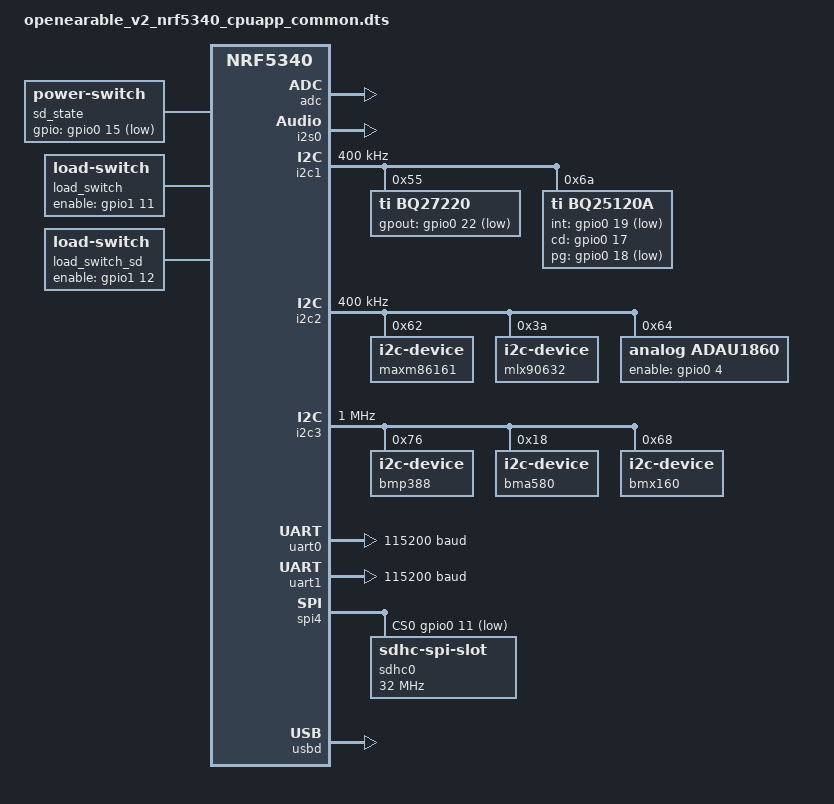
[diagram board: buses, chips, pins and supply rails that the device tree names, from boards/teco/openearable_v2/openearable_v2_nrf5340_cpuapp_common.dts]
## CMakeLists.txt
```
# Haven nRF5340 firmware — nRF Connect SDK (Zephyr) application
cmake_minimum_required(VERSION 3.20.0)

find_package(Zephyr REQUIRED HINTS $ENV{ZEPHYR_BASE})
project(haven_zephyr_app)

target_sources(app PRIVATE
  src/main.c
  src/ble_transport.c
  src/protocol.c
  src/adau1860_control.c
  src/lark_fdsp_program.c
  src/lark_eq_program.c
  src/tone_gen.c
  src/gatt_audio_service.c
  src/mock_audio_pipeline.c
  src/settings_store.c
  src/tone_safety.c
  src/ack.c
  src/wake_button.c
)
```

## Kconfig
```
mainmenu "Haven nRF5340 firmware"

menu "Haven"

config HAVEN_FDSP_RATE_HZ
	int "FastDSP frame rate the biquad coefficients are designed for (Hz)"
	default 192000
	help
	  Must equal the ADAU1860 FastDSP frame-rate source selected by
	  FDSP_CTRL4 (upstream OpenEarable: DMIC01 at 192 kHz). If a notch
	  commanded at f0 lands at f0/4 on hardware, this is what's wrong.
	  Q5.27 precision at 192 kHz is adequate for every band the protocol
	  allows (worst pure notch still >= 48.9 dB deep, centre error
	  <= 0.2 cents, all designs stable) -- see
	  tools/dsp/results/notch_quantisation.md. docs/fastdsp-program.md
	  has the evidence for the 192 kHz figure itself.

config HAVEN_FDSP_BANK
	int "FastDSP parameter bank to run (0 normal / 1 transparency / 2 ANC)"
	range 0 2
	default 1
	help
	  Upstream's three banks double as audio modes. Bank 0 zeroes the five
	  biquads (mic path silent); bank 1 is the hear-through path Haven's
	  bands are safeloaded into.

choice HAVEN_DAC_SOURCE
	prompt "What feeds the ADAU1860 DAC"
	default HAVEN_DAC_SOURCE_FDSP

config HAVEN_DAC_SOURCE_FDSP
	bool "FastDSP channel 0 (mic -> 5 biquads -> limiter): normal operation"

config HAVEN_DAC_SOURCE_DMIC_DIRECT
	bool "DMIC0 straight to the DAC: first-power-on smoke test, no DSP"
	help
	  Routes the raw PDM microphone to the DAC (DAC_ROUTE0 = 71, per ADI's
	  Lark SDK route enum). Use once on a fresh board: if you hear the room
	  the mic, clocks, DAC and receiver all work and any later silence is a
	  FastDSP program/routing question, not hardware. No filters and no
	  limiter are in this path -- never wear the device in this mode.

config HAVEN_DAC_SOURCE_EQ
	bool "Hardware EQ engine fed from DMIC0 (Route B): hear-through without a FastDSP program"
	help
	  Routes the PDM mic into the codec's dedicated EQ engine (EQ_ROUTE = 71)
	  and the EQ output to the DAC (DAC_ROUTE0 = 75). Haven's five bands are
	  written into the EQ's parameter banks (six biquad stages, 28-bit 4.24
	  words, [-a1,-a2,b0,b1,b2] -- see tools/dsp/eq_bank_decode.py) with
	  bank-flip updates. Independent of the FastDSP program's internal
	  routing, so it is the fallback if FastDSP hear-through is silent. The
	  FastDSP's expander/limiter are NOT in this path; the DAC output
	  ceiling (HAVEN_OUTPUT_CEILING_DB) still is. UNVERIFIED on hardware.
endchoice

config HAVEN_TONE_FULL_SCALE_DB
	int "LDL tone: commanded level_db that maps to 0 dBFS on the I2S link"
	range 0 120
	default 85
	help
	  Tone amplitude = 10^((level_db - this)/20) of full scale, so the
	  default puts the protocol's 85 dB ceiling at exactly 0 dBFS -- the
	  loudest the link can carry. This is a NOMINAL placeholder: the real
	  relationship between level_db and dB SPL at the eardrum has to be
	  measured on hardware (haven-app docs/calibration.md), after which
	  this constant -- or a per-frequency table replacing it -- gets the
	  measured value. Do not treat any dB number as physical until then.

choice HAVEN_TONE_ROUTE
	prompt "LDL tone: codec routing while a tone plays"
	default HAVEN_TONE_ROUTE_DAC_DIRECT
	help
	  See docs/tone-path.md.

config HAVEN_TONE_ROUTE_DAC_DIRECT
	bool "DAC fed from the I2S input; hear-through paused for the tone"
	help
	  Upstream OpenEarable's non-DSP playback route (DAC_ROUTE0 = I2S with
	  serial port 0 -> input ASRC 0). Known to make sound; guarantees the
	  tone is not shaped by the user's own notch filters, which an LDL test
	  requires. Costs hear-through for the duration of the tone.

config HAVEN_TONE_ROUTE_FDSP_MIX
	bool "DAC stays on the FastDSP; rely on the program's mixer slot (unverified)"
	help
	  Leaves DAC_ROUTE0 on FastDSP channel 0 and assumes upstream's
	  program mixes the I2S/ASRC path in at slot 8 after the biquads. Not
	  established -- for hardware experiments only.

endchoice

endmenu

source "Kconfig.zephyr"
```

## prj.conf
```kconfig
# ── Bluetooth LE peripheral ──────────────────────────────────────────────────
# On nRF5340 the Host runs here on the app core; the Controller runs on the
# network core via the hci_rpmsg image — see sysbuild.conf.
CONFIG_BT=y
CONFIG_BT_PERIPHERAL=y
CONFIG_BT_DEVICE_NAME="Haven"
CONFIG_BT_DEVICE_APPEARANCE=962
CONFIG_BT_MAX_CONN=1

# Nordic UART Service (NUS) from nRF Connect SDK
CONFIG_BT_NUS=y

# The app negotiates MTU 247 so a 5-band MULTI_FILTER JSON fits in one write.
CONFIG_BT_L2CAP_TX_MTU=247
CONFIG_BT_BUF_ACL_RX_SIZE=251
CONFIG_BT_BUF_ACL_TX_SIZE=251
CONFIG_BT_CTLR_DATA_LENGTH_MAX=251

# ── Buses to the ADAU1860 ───────────────────────────────────────────────────
# I2C (bus per board file) is the control port: registers, FastDSP program
# and parameter safeloads. I2S0 (nRF master, 48 kHz, 16-bit stereo) carries
# only the LDL calibration tone from tone_gen.c into the codec's serial port
# 0; hear-through audio never leaves the codec.
CONFIG_I2C=y
CONFIG_I2S=y
# tone_gen.c keeps two blocks ahead of the DMA; the driver's TX queue depth
# (default 4) is fine -- listed here so the relationship is visible.
CONFIG_I2S_NRFX_TX_BLOCK_COUNT=4

# ── Settings persistence (NVS) for Volume/FreqRange ─────────────────────────
# `storage_partition` already exists in the nRF5340 DK's default flash
# partition table (nrf5340_cpuapp_partition.dtsi) -- no overlay needed.
# CONFIG_SETTINGS=y + CONFIG_NVS=y is enough for the backend choice to
# default to SETTINGS_NVS.
CONFIG_FLASH=y
CONFIG_FLASH_MAP=y
CONFIG_NVS=y
CONFIG_SETTINGS=y

# ── Runtime ─────────────────────────────────────────────────────────────────
CONFIG_MAIN_STACK_SIZE=2048
CONFIG_SYSTEM_WORKQUEUE_STACK_SIZE=2048
CONFIG_HEAP_MEM_POOL_SIZE=4096

# ── Power management ─────────────────────────────────────────────────────────
# Baseline CPU idle power savings (WFE/WFI between work) -- this app has no
# device driver PM state machines to opt into yet (I2C/I2S/GPIO aren't runtime
# suspended), so CONFIG_PM_DEVICE is deliberately not enabled here. See
# ble_transport.c for the advertising-side power saving (fast->slow interval)
# and wake_button.c for the button0 wake trigger.
CONFIG_PM=y
CONFIG_GPIO=y

# strtof/printf of floats for JSON band parsing and logging
CONFIG_PICOLIBC=y
CONFIG_PICOLIBC_IO_FLOAT=y
CONFIG_CBPRINTF_FP_SUPPORT=y

# ── Logging ─────────────────────────────────────────────────────────────────
CONFIG_LOG=y
CONFIG_LOG_DEFAULT_LEVEL=3
CONFIG_USE_SEGGER_RTT=y

# Default 1024B up-buffer fills before boot even finishes (BT HCI core
# alone logs ~700B) and CONFIG_SEGGER_RTT_MODE_NO_BLOCK_SKIP means anything
# past a full buffer is silently dropped rather than blocking or
# overwriting — a snapshot dump taken any time after boot without a
# continuously-draining RTT client attached from t=0 will look like the
# firmware hung right after the last line that fit. Confirmed via
# arch_cpu_idle at the PC, not a crash. Bumped so a whole boot burst fits.
CONFIG_SEGGER_RTT_BUFFER_SIZE_UP=16384
```

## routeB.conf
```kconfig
# Build-time selection of Route B (hardware EQ engine hear-through) for CI.
# west build ... -- -DEXTRA_CONF_FILE=routeB.conf
CONFIG_HAVEN_DAC_SOURCE_EQ=y
```

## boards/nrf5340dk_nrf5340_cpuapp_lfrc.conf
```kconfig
# LFRC fallback -- application core.
#
# Run the nRF5340's 32.768 kHz low-frequency clock from the internal RC
# oscillator (calibrated against the HFXO) instead of the external X1
# crystal. Use this ONLY if BLE never comes up on a board whose 32 kHz
# crystal may not be oscillating -- the 5x bench board's X1 sat 30 mm from
# the module before haven-dev-board-kicad PR #5 (issue #4). Symptoms: no
# advertising seen by the phone, or bt_enable() never returning / timing
# out waiting for the LF clock.
#
# Cost: RC accuracy is 250 ppm class (CLOCK_CONTROL_NRF_K32SRC_250PPM is the
# default the clock driver picks for RC on nRF53), which is within BLE's
# 500 ppm sleep-clock budget but worsens power (more frequent calibration,
# wider receive windows). Not for the product; for getting a bench alive.
#
# The network core (ipc_radio, the BLE controller) MUST get the same choice
# -- see sysbuild/ipc_radio_lfrc.conf; both are applied together by
# `-DFILE_SUFFIX=lfrc` (README "LFRC fallback").
#
# Symbol names verified against sdk-zephyr ncs-v3.4-branch
# drivers/clock_control/Kconfig.nrf (choice CLOCK_CONTROL_NRF_SOURCE;
# CLOCK_CONTROL_NRF_K32SRC_RC_CALIBRATION depends on the hfxo node, present
# on cpuapp).
CONFIG_CLOCK_CONTROL_NRF_K32SRC_RC=y
CONFIG_CLOCK_CONTROL_NRF_K32SRC_RC_CALIBRATION=y
```

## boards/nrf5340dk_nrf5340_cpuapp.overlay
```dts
/*
 * nRF5340 DK bench wiring for an ADAU1860 (e.g. EVAL-ADAU1860EBZ) —
 * application core.
 *
 * Control port : I2C1 (Arduino-header SDA/SCL on the DK; ADAU1860 at 0x64)
 * Enable pin   : Arduino D2 = P1.04 → the codec's PD/enable (net DAC_ENABLE
 *                on the real board). Must be driven before any I2C traffic;
 *                adau1860_control.c does that.
 * Audio data   : I2S0, nRF5340 as MASTER — carries only the LDL calibration
 *                tone (tone_gen.c, 48 kHz 16-bit stereo). The hear-through
 *                path is mic → FastDSP → DAC entirely inside the codec.
 *
 * This DK is only a bench for the codec's control plane. The real target is
 * boards/teco/openearable_v2 (the OpenEarable 2.0 / Haven board), where the
 * codec sits on the P1.00/P1.15 bus and is enabled by P0.04.
 *
 * NOTE: confirm i2c1 is the Arduino-header bus and P1.04 is D2 for your
 * exact NCS version / DK revision before wiring — Nordic DK pin maps have
 * shifted between releases (see the DK's own arduino_header node).
 *
 * NOTE (history): an earlier revision of this overlay put the nRF5340 as
 * I2S *slave*, inferring that from the codec's own 24.576 MHz crystal. The
 * upstream OpenEarable firmware that runs on this codec has the nRF as I2S
 * MASTER (I2S_SCK_M / I2S_LRCK_M, hfclkaudio 12.288 MHz); the ADAU1860
 * bridges the two clock domains with its ASRCs, which is what they are for.
 * The upstream pinout also settles signal direction: nRF SDOUT → codec
 * SDATAI_0 (board net "DIN"), codec SDATAO_0 → nRF SDIN (net "DOUT").
 */

&i2c1 {
	status = "okay";
	clock-frequency = <I2C_BITRATE_FAST>;

	adau1860: adau1860@64 {
		compatible = "analog,adau1860";
		reg = <0x64>;
		enable-gpios = <&gpio1 4 GPIO_ACTIVE_HIGH>;
		status = "okay";
	};
};

/*
 * The DK's board-level pinctrl has no i2s0 state at all — I2S isn't part of
 * the DK's standard Arduino-header mapping the way i2c1 is — so it's defined
 * here, on Arduino D4–D7 (gpio1 6–9), which are otherwise unused by the
 * DK's leds/buttons/i2c1/uart0/uart1/qspi/spi4. No MCK: the ADAU1860 runs
 * from its own crystal and has no MCLK input wired on the real board.
 */
&pinctrl {
	i2s0_default: i2s0_default {
		group1 {
			psels = <NRF_PSEL(I2S_SCK_M, 1, 6)>,
				<NRF_PSEL(I2S_LRCK_M, 1, 7)>,
				<NRF_PSEL(I2S_SDOUT, 1, 8)>,
				<NRF_PSEL(I2S_SDIN, 1, 9)>;
		};
	};

	i2s0_sleep: i2s0_sleep {
		group1 {
			psels = <NRF_PSEL(I2S_SCK_M, 1, 6)>,
				<NRF_PSEL(I2S_LRCK_M, 1, 7)>,
				<NRF_PSEL(I2S_SDOUT, 1, 8)>,
				<NRF_PSEL(I2S_SDIN, 1, 9)>;
			low-power-enable;
		};
	};
};

&i2s0 {
	status = "okay";
	pinctrl-0 = <&i2s0_default>;
	pinctrl-1 = <&i2s0_sleep>;
	pinctrl-names = "default", "sleep";
	/* 12.288 MHz audio PLL -> exact 48 kHz frame clock for the LDL tone
	 * (tone_gen.c). Wire D4 (BCLK) / D5 (LRCLK) / D6 (SDOUT) to the eval
	 * board's P2 header: pins 8 / 6 / 4 respectively (UG-2017 Table 8). */
	clock-source = "ACLK";
};

&clock {
	hfclkaudio-frequency = <12288000>;
};
```

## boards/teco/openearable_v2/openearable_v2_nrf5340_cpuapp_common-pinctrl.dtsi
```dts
/*
 * Copyright (c) 2023 Raytac Corporation
 *
 * SPDX-License-Identifier: Apache-2.0
 */

 &pinctrl {
	/* Haven: nRF5340 is I2S MASTER (as upstream). SDOUT P0.28 -> codec
	 * SDATAI_0 (board net "DIN"), SDIN P0.31 <- codec SDATAO_0 (net "DOUT").
	 * MCK deliberately omitted -- see the common .dts header. */
	i2s0_default: i2s0_default {
		group1 {
			psels = <NRF_PSEL(I2S_SCK_M, 1, 10)>,
			<NRF_PSEL(I2S_LRCK_M, 0, 30)>,
			<NRF_PSEL(I2S_SDOUT, 0, 28)>,
			<NRF_PSEL(I2S_SDIN, 0, 31)>;
		};
	};

	i2s0_sleep: i2s0_sleep {
		group1 {
			psels = <NRF_PSEL(I2S_SCK_M, 1, 10)>,
				<NRF_PSEL(I2S_LRCK_M, 0, 30)>,
				<NRF_PSEL(I2S_SDOUT, 0, 28)>,
				<NRF_PSEL(I2S_SDIN, 0, 31)>;
			low-power-enable;
		};
	};

	pdm0_default_alt: pdm0_default_alt {
		group1 {
			psels = <NRF_PSEL(PDM_CLK, 1, 14)>,
				<NRF_PSEL(PDM_DIN, 0, 31)>;
		};
	};

	i2c1_default: i2c1_default {
		group1 {
			psels = <NRF_PSEL(TWIM_SDA, 0, 21)>,
				<NRF_PSEL(TWIM_SCL, 0, 24)>;
		};
	};

	i2c1_sleep: i2c1_sleep {
		group1 {
			psels = <NRF_PSEL(TWIM_SDA, 0, 21)>,
				<NRF_PSEL(TWIM_SCL, 0, 24)>;
			low-power-enable;
		};
	};

	i2c2_default: i2c2_default {
		group1 {
			psels = <NRF_PSEL(TWIM_SCL, 1, 0)>,
				<NRF_PSEL(TWIM_SDA, 1, 15)>;
		};
	};

	i2c2_sleep: i2c2_sleep {
		group1 {
			psels = <NRF_PSEL(TWIM_SCL, 1, 0)>,
				<NRF_PSEL(TWIM_SDA, 1, 15)>;
			low-power-enable;
		};
	};

	i2c3_default: i2c3_default {
		group1 {
			psels = <NRF_PSEL(TWIM_SCL, 1, 2)>,
				<NRF_PSEL(TWIM_SDA, 1, 3)>;
		};
	};

	i2c3_sleep: i2c3_sleep {
		group1 {
			psels = <NRF_PSEL(TWIM_SCL, 1, 2)>,
				<NRF_PSEL(TWIM_SDA, 1, 3)>;
			low-power-enable;
		};
	};

	uart0_default: uart0_default {
		group1 {
			psels = <NRF_PSEL(UART_TX, 1, 4)>,
				<NRF_PSEL(UART_RX, 0, 20)>,
				<NRF_PSEL_DISCONNECTED(UART_RTS)>,
				<NRF_PSEL_DISCONNECTED(UART_CTS)>;
		};
	};

	uart0_sleep: uart0_sleep {
		group1 {
			psels = <NRF_PSEL(UART_TX, 1, 4)>,
				<NRF_PSEL(UART_RX, 0, 20)>,
				<NRF_PSEL_DISCONNECTED(UART_RTS)>,
				<NRF_PSEL_DISCONNECTED(UART_CTS)>;
			low-power-enable;
		};
	};

	uart1_default: uart1_default {
		group1 {
			psels = <NRF_PSEL(UART_TX, 1, 1)>,
				<NRF_PSEL(UART_RX, 1, 0)>,
				<NRF_PSEL(UART_RTS, 1, 14)>,
				<NRF_PSEL(UART_CTS, 1, 15)>;
		};
	};

	uart1_sleep: uart1_sleep {
		group1 {
			psels = <NRF_PSEL(UART_TX, 1, 1)>,
				<NRF_PSEL(UART_RX, 1, 0)>,
				<NRF_PSEL(UART_RTS, 1, 14)>,
				<NRF_PSEL(UART_CTS, 1, 15)>;
			low-power-enable;
		};
	};

	pwm0_default: pwm0_default {
		group1 {
			psels = <NRF_PSEL(PWM_OUT0, 0, 28)>;
		};
	};

	pwm0_sleep: pwm0_sleep {
		group1 {
			psels = <NRF_PSEL(PWM_OUT0, 0, 28)>;
			low-power-enable;
		};
	};

	qspi_default: qspi_default {
		group1 {
			psels = <NRF_PSEL(QSPI_SCK, 0, 17)>,
				<NRF_PSEL(QSPI_IO0, 0, 13)>,
				<NRF_PSEL(QSPI_IO1, 0, 14)>,
				<NRF_PSEL(QSPI_IO2, 0, 15)>,
				<NRF_PSEL(QSPI_IO3, 0, 16)>,
				<NRF_PSEL(QSPI_CSN, 0, 18)>;
		};
	};

	qspi_sleep: qspi_sleep {
		group1 {
			psels = <NRF_PSEL(QSPI_SCK, 0, 17)>,
				<NRF_PSEL(QSPI_IO0, 0, 13)>,
				<NRF_PSEL(QSPI_IO1, 0, 14)>,
				<NRF_PSEL(QSPI_IO2, 0, 15)>,
				<NRF_PSEL(QSPI_IO3, 0, 16)>,
				<NRF_PSEL(QSPI_CSN, 0, 18)>;
			low-power-enable;
		};
	};

	spi2_default: spi2_default {
		group1 {
			psels = <NRF_PSEL(SPIM_MISO, 0, 26)>,
				<NRF_PSEL(SPIM_MOSI, 0, 27)>,
				<NRF_PSEL(SPIM_SCK, 0, 28)>;
		};
	};

	spi2_sleep: spi2_sleep {
		group1 {
			psels = <NRF_PSEL(SPIM_MISO, 0, 26)>,
				<NRF_PSEL(SPIM_MOSI, 0, 27)>,
				<NRF_PSEL(SPIM_SCK, 0, 28)>;
			low-power-enable;
		};
	};

	spi3_default: spi3_default {
		group1 {
			psels = <NRF_PSEL(SPIM_SCK, 1, 14)>,
				<NRF_PSEL(SPIM_MISO, 1, 15)>,
				<NRF_PSEL(SPIM_MOSI, 1, 13)>;
		};
	};

	spi3_sleep: spi3_sleep {
		group1 {
			psels = <NRF_PSEL(SPIM_SCK, 1, 14)>,
				<NRF_PSEL(SPIM_MISO, 1, 15)>,
				<NRF_PSEL(SPIM_MOSI, 1, 13)>;
			low-power-enable;
		};
	};

	spi4_default: spi4_default {
		group1 {
			psels = <NRF_PSEL(SPIM_SCK, 0, 8)>,
				<NRF_PSEL(SPIM_MOSI, 0, 9)>;
			/* Workaround for issue with PCA10121 v0.7.0
			 * related to SD-card
			 */
			nordic,drive-mode = <NRF_DRIVE_H0H1>;
		};
		group2 {
			psels = <NRF_PSEL(SPIM_MISO, 0, 10)>;
		};
	};

	spi4_sleep: spi4_sleep {
		group1 {
			psels = <NRF_PSEL(SPIM_MISO, 0, 10)>,
				<NRF_PSEL(SPIM_MOSI, 0, 9)>,
				<NRF_PSEL(SPIM_SCK, 0, 8)>;
			low-power-enable;
		};
	};
};
```

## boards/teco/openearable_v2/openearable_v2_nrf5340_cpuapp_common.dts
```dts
/*
 * Copyright (c) 2023 Raytac Corporation
 *
 * SPDX-License-Identifier: Apache-2.0
 */
/*
 * Haven copy of the OpenEarable 2.0 board definition (OpenEarable/open-earable-2,
 * boards/teco/openearable_v2). Haven's board is a port of this exact PCB, so
 * the pin map is the same. Local changes are marked "Haven:" -- the codec node
 * moved to &i2c2 (see comment there), I2S MCK dropped from the pinctrl (the
 * codec has no MCLK input; upstream's MCK pin P1.14 doubles as its
 * alternative PDM clock pin), and the UART GPIO forwarder removed (no
 * net-core UART here).
 */
 #include "openearable_v2_nrf5340_cpuapp_common-pinctrl.dtsi"
 #include <zephyr/dt-bindings/input/input-event-codes.h>
 
 / {
	 chosen {
		 zephyr,console = &uart0;
		 zephyr,shell-uart = &uart0;
		 zephyr,uart-mcumgr = &cdc_acm_uart0;
		 zephyr,bt-mon-uart = &uart0;
		 zephyr,bt-c2h-uart = &uart0;
		 zephyr,bt-hci = &bt_hci_ipc0;
		 watchdog0 = &wdt0;
	 };
 
 
	 sd_state: sd_state {
		 compatible = "power-switch";
		 gpios = <&gpio0 15 (GPIO_PULL_UP | GPIO_ACTIVE_LOW)>;
	 };
 
	 load_switch: load_switch {
		 compatible = "load-switch";
		 enable-gpios = <&gpio1 11 GPIO_ACTIVE_HIGH>;
		 power-delay-us = <300>; // 250us per datasheet
		 status = "okay";
		 default-on;
	 };
 
	 load_switch_sd: load_switch_sd {
		 compatible = "load-switch";
		 enable-gpios = <&gpio1 12 GPIO_ACTIVE_HIGH>;
		 power-delay-us = <300>; // 250us per datasheet
		 status = "okay";
	 };
 
 };
 
 &clock {
	 hfclkaudio-frequency = <12288000>;
 };

 // Oscillator Parameters 32mHz / 8pF / 20ppm
 &hfxo {
	load-capacitors = "internal";
	load-capacitance-femtofarad = <8000>;
 };

 &lfxo {
	load-capacitors = "external";
  };
 
 &adc {
	 status = "okay";
 };
 
 &gpiote {
	 status = "okay";
 };
 
 &gpio0 {
	 status = "okay";
 };
 
 &gpio1 {
	 status = "okay";
 };
 
 &i2s0 {
	 compatible = "nordic,nrf-i2s";
	 status = "okay";
	 pinctrl-0 = <&i2s0_default>;
	 pinctrl-1 = <&i2s0_sleep>;
	 pinctrl-names = "default", "sleep";
	 /* Haven: clock the I2S from the 12.288 MHz audio PLL (hfclkaudio
	  * above) so 48 kHz is exact, as upstream does via nrfx directly
	  * (NRF_I2S_CLKSRC_ACLK). Not critical -- the codec's ASRC would absorb
	  * a PCLK32M-derived 47.6 kHz -- but there's no reason to be off. */
	 clock-source = "ACLK";
 };
 
 dmic_dev: &pdm0 {
	 compatible = "nordic,nrf-pdm";
	 status = "disabled";
	 pinctrl-0 = <&pdm0_default_alt>;
	 pinctrl-names = "default";
	 clock-source = "ACLK";
 };
 
 &i2c1 {
	 compatible = "nordic,nrf-twim";
	 status = "okay";
	 pinctrl-0 = <&i2c1_default>;
	 pinctrl-1 = <&i2c1_sleep>;
	 pinctrl-names = "default", "sleep";
	 clock-frequency = <I2C_BITRATE_FAST>;  // 400 kHz
	 zephyr,concat-buf-size = <512>;
     zephyr,flash-buf-max-size = <512>;
 
	 bq27220: bq27220@55 {
		 compatible = "ti,bq27220";
		 reg = <0x55>;
		 gpout-gpios = <&gpio0 22 (GPIO_PULL_UP | GPIO_ACTIVE_LOW)>;
	 };
 
	 bq25120a: bq25120a@6a {
		 compatible = "ti,bq25120a";
		 reg = <0x6a>;
		 int-gpios = <&gpio0 19 (GPIO_ACTIVE_LOW | GPIO_PULL_UP)>;
		 cd-gpios = <&gpio0 17 GPIO_ACTIVE_HIGH>;
		 pg-gpios = <&gpio0 18 (GPIO_ACTIVE_LOW | GPIO_PULL_UP)>;

		load-switch {
			compatible = "load-switch";
			enable-gpios = <&gpio0 14 GPIO_ACTIVE_HIGH>;
			power-delay-us = <600>; // 250us per datasheet
			status = "okay";
        };
	 };
 
 };
 
 &i2c2 {
	 compatible = "nordic,nrf-twim";
	 status = "okay";
	 pinctrl-0 = <&i2c2_default>;
	 pinctrl-1 = <&i2c2_sleep>;
	 pinctrl-names = "default", "sleep";
	 clock-frequency = <I2C_BITRATE_FAST>;  // 400 kHz
	 zephyr,concat-buf-size = <512>;
     zephyr,flash-buf-max-size = <512>;

	maxm86161: maxm86161@62 {
        compatible = "i2c-device";
        reg = <0x62>;
    };

	mlx90632: mlx90632@3A {
        compatible = "i2c-device";
        reg = <0x3A>;
    };

	/* ADAU1860 codec/DSP. Upstream OpenEarable declares this node under
	 * &i2c1 but talks to it through its `I2C2` TWIM wrapper (src/Wire/TWIM.cpp:
	 * `TWIM I2C2(DEVICE_DT_GET(DT_NODELABEL(i2c2)))`, `ADAU1860 dac(&I2C2)`),
	 * i.e. the bus on P1.00 (SCL) / P1.15 (SDA) -- which is also where the
	 * Haven board netlist puts the codec's SCL1/SDA1 pins (MDBT53 pins 45/47).
	 * Haven's driver uses the node's parent bus for real, so the node lives
	 * on the bus the wires go to.
	 */
	adau1860: adau1860@64 {
		compatible = "analog,adau1860";
		reg = <0x64>;
		enable-gpios = <&gpio0 4 GPIO_ACTIVE_HIGH>;  /* net DAC_ENABLE -> codec pin E4 */
	};
 };
 
 &i2c3 {
	 compatible = "nordic,nrf-twim";
	 status = "okay";
	 pinctrl-0 = <&i2c3_default>;
	 pinctrl-1 = <&i2c3_sleep>;
	 pinctrl-names = "default", "sleep";
	 clock-frequency = <I2C_BITRATE_FAST_PLUS>;  // 1000 kHz
	 zephyr,concat-buf-size = <512>;
     zephyr,flash-buf-max-size = <512>;

	bmp388: bmp388@76 {
        compatible = "i2c-device";
        reg = <0x76>;
    };

	bma580: bma580@18 {
        compatible = "i2c-device";
        reg = <0x18>;
    };

	bmx160: bmx160@68 {
        compatible = "i2c-device";
        reg = <0x68>;
    };
 };
 
 &uart0 {
	 status = "okay";
	 current-speed = <115200>;
	 pinctrl-0 = <&uart0_default>;
	 pinctrl-1 = <&uart0_sleep>;
	 pinctrl-names = "default", "sleep";
 };
 
 &uart1 {
	 compatible = "nordic,nrf-uarte";
	 current-speed = <115200>;
	 pinctrl-0 = <&uart1_default>;
	 pinctrl-1 = <&uart1_sleep>;
	 pinctrl-names = "default", "sleep";
 };
 
 &pwm0 {
	 status = "disabled"; // okay
	 pinctrl-0 = <&pwm0_default>;
	 pinctrl-1 = <&pwm0_sleep>;
	 pinctrl-names = "default", "sleep";
 };
 
 &qspi {
	 status = "disabled";
	 pinctrl-0 = <&qspi_default>;
	 pinctrl-1 = <&qspi_sleep>;
	 pinctrl-names = "default", "sleep";
 };
 
 &spi2 {
	 compatible = "nordic,nrf-spim";
	 status = "disabled";
	 cs-gpios = <&gpio0 25 GPIO_ACTIVE_LOW>;
 
	 pinctrl-0 = <&spi2_default>;
	 pinctrl-1 = <&spi2_sleep>;
	 pinctrl-names = "default", "sleep";
 };
 
 &spi3 {
	 compatible = "nordic,nrf-spim";
	 status = "disabled";
	 cs-gpios = <&gpio1 12 GPIO_ACTIVE_LOW>;
 
	 pinctrl-0 = <&spi3_default>;
	 pinctrl-1 = <&spi3_sleep>;
	 pinctrl-names = "default", "sleep";
 };
 
 &spi4 {
	 compatible = "nordic,nrf-spim";
	 status = "okay";
	 cs-gpios = <&gpio0 11 GPIO_ACTIVE_LOW>,<&gpio1 1 GPIO_ACTIVE_LOW>;
 
	 pinctrl-0 = <&spi4_default>;
	 pinctrl-1 = <&spi4_sleep>;
	 pinctrl-names = "default", "sleep";
	 sdhc0: sdhc@0 {
		 compatible = "zephyr,sdhc-spi-slot";
		 reg = <0>;
		 status = "okay";
		 sdmmc {
			 compatible = "zephyr,sdmmc-disk";
			 status = "okay";
			 disk-name = "SD";
		 };
 
		 spi-max-frequency = <32000000>;
	 };
 };
 
 zephyr_udc0: &usbd {
	 compatible = "nordic,nrf-usbd";
	 status = "okay";
	 cdc_acm_uart0: cdc_acm_uart0 {
		 compatible = "zephyr,cdc-acm-uart";
	 };
 };
 
 &uicr {
	 nfct-pins-as-gpios;
 };
 
 /* Include partition configuration file */
 //#include "openearable_v2_nrf5340_cpuapp_partition_conf.dts"
 /* NCS v3.4: the nRF5340 partition layouts moved from <common/nordic/...>
  * to <nordic/...> (see zephyr boards/nordic/nrf5340dk). */
 #include <nordic/nrf5340_cpuapp_partition.dtsi>
 #include "openearable_v2_nrf5340_shared.dtsi"
 
```

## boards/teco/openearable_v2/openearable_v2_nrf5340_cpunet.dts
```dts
/*
 * Copyright (c) 2023 Raytac Corporation
 *
 * SPDX-License-Identifier: Apache-2.0
 */

/dts-v1/;
#include <nordic/nrf5340_cpunet_qkaa.dtsi>
#include "openearable_v2_nrf5340_cpunet-pinctrl.dtsi"

/ {
	model = "Raytac MDBT53-DB-40 NRF5340 Network";
	compatible = "raytac,raytac-mdbt53-db-40-nrf5340-cpunet";

	chosen {
		zephyr,console = &uart0;
		zephyr,shell-uart = &uart0;
		zephyr,uart-mcumgr = &uart0;
		zephyr,bt-mon-uart = &uart0;
		zephyr,bt-c2h-uart = &uart0;
		zephyr,bt-hci-ipc = &ipc0;
		zephyr,sram = &sram1;
		zephyr,flash = &flash1;
		zephyr,code-partition = &slot0_partition;
		watchdog0 = &wdt0;
	};
};

&uart0 {
	status = "okay";
	current-speed = <115200>;
	pinctrl-0 = <&uart0_default>;
	pinctrl-1 = <&uart0_sleep>;
	pinctrl-names = "default", "sleep";
};


&flash1 {
	partitions {
		compatible = "fixed-partitions";
		#address-cells = <1>;
		#size-cells = <1>;

		boot_partition: partition@0 {
			label = "mcuboot";
			reg = <0x00000000 0xc000>;
		};
		slot0_partition: partition@c000 {
			label = "image-0";
			reg = <0x0000C000 0x12000>;
		};
		slot1_partition: partition@1e000 {
			label = "image-1";
			reg = <0x0001E000 0x12000>;
		};
		storage_partition: partition@3a000 {
			label = "storage";
			reg = <0x0003a000 0x6000>;
		};
	};
};

/* Include default shared RAM configuration file */
#include <nordic/nrf5340_shared_sram_partition.dtsi>
#include "openearable_v2_nrf5340_shared.dtsi"
```

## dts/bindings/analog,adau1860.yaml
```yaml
# ADAU1860 ("Lark") low-power audio codec + FastDSP, I2C control port.
#
# Based on OpenEarable 2.0's binding (OpenEarable/open-earable-2,
# dts/bindings/analog,adau1860.yaml, Apache-2.0), with an optional supply GPIO
# added for boards where the codec sits behind a load switch.

description: Analog Devices ADAU1860 audio codec / DSP (I2C control port)

compatible: "analog,adau1860"

include: i2c-device.yaml

properties:
  enable-gpios:
    type: phandle-array
    required: true
    description: |
      Codec enable / power-down pin (net DAC_ENABLE on the OpenEarable and
      Haven boards, nRF5340 P0.04 -> ADAU1860 pin E4). Driven high before the
      first I2C transaction, then 35 ms common-mode rise wait.

  supply-gpios:
    type: phandle-array
    description: |
      Optional load-switch enable for the codec's supply rail (V_LS on the
      OpenEarable/Haven board, nRF5340 P1.11). Driven high, then
      supply-delay-us, before enable-gpios. Omit when the board turns the
      rail on itself (the openearable_v2 board init does).

  supply-delay-us:
    type: int
    default: 300
    description: "Settling time after asserting supply-gpios (AP22916: 250 us)."
```

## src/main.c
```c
/* Haven nRF5340 firmware
 *
 * Pipeline: NUS write → line assembler → protocol_parse_line() → ADAU1860
 * driver → one JSON ack back over NUS TX. Parsing, DSP dispatch and the ack
 * run in the BLE receive path (Bluetooth RX thread); nothing here blocks.
 */
#include <zephyr/kernel.h>
#include <zephyr/logging/log.h>

#if __has_include(<app_version.h>)
#include <app_version.h>
#endif
#ifndef APP_VERSION_STRING
#define APP_VERSION_STRING "dev"
#endif

#include "ack.h"
#include "adau1860_control.h"
#include "ble_transport.h"
#include "gatt_audio_service.h"
#include "mock_audio_pipeline.h"
#include "protocol.h"
#include "settings_store.h"
#include "tone_gen.h"
#include "tone_safety.h"
#include "wake_button.h"

LOG_MODULE_REGISTER(main, LOG_LEVEL_INF);

/* Best-effort: an ack the link can't take right now (-ENOMEM/-EAGAIN when
 * the TX buffer pool is exhausted, -ENOTCONN if the phone left between the
 * write and the reply) is dropped, not retried -- the app treats acks as
 * confirmation, not as state, and a retry loop in the BT RX path would be
 * worse than a missing ack.
 */
static void send_line(const char *buf, int len)
{
	if (len <= 0) {
		return;
	}
	int err = ble_transport_send(buf, (size_t)len);

	if (err) {
		LOG_DBG("ack dropped (err %d)", err);
	}
}

static int dispatch(const struct dsp_command *cmd)
{
	int err = 0;

	switch (cmd->type) {
	case DSP_CMD_MULTI_FILTER:
		LOG_INF("MULTI_FILTER: %u band(s)", cmd->band_count);
		err = adau1860_control_set_bypass(false);
		if (!err) {
			err = adau1860_control_apply_filters(cmd->bands, cmd->band_count);
		}
		break;
	case DSP_CMD_BYPASS:
		err = adau1860_control_set_bypass(cmd->bypass_enabled);
		break;
	case DSP_CMD_TONE_START:
		tone_safety_start(cmd->tone_f0_hz, cmd->tone_level_db);
		break;
	case DSP_CMD_TONE_LEVEL:
		tone_safety_set_level(cmd->tone_level_db);
		break;
	case DSP_CMD_TONE_STOP:
		tone_safety_stop();
		break;
	default:
		break;
	}
	return err;
}

static void handle_line(const char *line)
{
	struct dsp_command cmd;
	char ack[ACK_MAX_LEN];
	int err = protocol_parse_line(line, &cmd);

	if (err) {
		LOG_WRN("Rejected payload: %s", line);
		send_line(ack, ack_format_rejected(ack, sizeof(ack)));
		return;
	}

	err = dispatch(&cmd);
	send_line(ack, ack_format_command(&cmd, err, ack, sizeof(ack)));
}

/* tone_safety.c auto-silenced a tone (no keep-alive). Tell the app, which
 * otherwise only learns its own ramp state machine has gone quiet.
 */
static void on_tone_watchdog(void)
{
	char ev[ACK_MAX_LEN];

	send_line(ev, ack_format_event_tone_watchdog(ev, sizeof(ev)));
}

/* The app subscribes to NUS TX right after connecting; the boot event is
 * how it learns which firmware (and which DAC source / FastDSP rate) it is
 * talking to, so a smoke-test build can never masquerade as the product.
 */
static void on_ble_connected(void)
{
	char ev[ACK_MAX_LEN];

	adau1860_control_on_ble_connected();
	send_line(ev, ack_format_event_boot(APP_VERSION_STRING,
					     (uint32_t)ADAU1860_FDSP_RATE_HZ,
					     IS_ENABLED(CONFIG_HAVEN_DAC_SOURCE_DMIC_DIRECT)
						     ? "dmic_direct"
						     : "fdsp",
					     ev, sizeof(ev)));
}

/* Losing the BLE link must silence any active tone immediately, the same
 * way haven-app's own useLdlTone does on its side (docs/safety.md) --
 * independently, not because the app told us to. A plain wrapper here
 * (rather than teaching adau1860_control.c about tone_safety.c) keeps that
 * module's only dependency on tone_safety.h one-directional.
 */
static void on_ble_disconnected(void)
{
	adau1860_control_on_ble_disconnected();
	tone_safety_stop();
}

int main(void)
{
	LOG_INF("Haven firmware boot (%s)", APP_VERSION_STRING);

	int err = adau1860_control_init();

	if (err) {
		LOG_ERR("ADAU1860 control init failed (err %d)", err);
	}

	/* nRF-side LDL tone generator (I2S0 master). Independent of the codec
	 * init above: on a DK without a codec it still streams, which is how
	 * the I2S clocking gets checked with a scope. */
	err = tone_gen_init();
	if (err) {
		LOG_WRN("Tone generator init failed (err %d) -- TONE_* will be no-ops", err);
	}

	tone_safety_set_watchdog_cb(on_tone_watchdog);
	ble_transport_set_conn_callbacks(on_ble_connected, on_ble_disconnected);

	err = ble_transport_init(handle_line);
	if (err) {
		LOG_ERR("BLE init failed (err %d)", err);
		return err;
	}

	/* BT_GATT_SERVICE_DEFINE registers the service automatically inside
	 * bt_enable() (called from ble_transport_init() above); this just
	 * confirms it and logs the bench-default parameter values.
	 */
	gatt_audio_service_init();
	mock_audio_pipeline_init();

	/* After mock_audio_pipeline_init() so a restored value's callback
	 * (registered by that call) actually fires -- otherwise the pipeline
	 * would start from its own hardcoded defaults instead of whatever
	 * was last saved.
	 */
	haven_settings_init();

	err = wake_button_init();
	if (err) {
		LOG_WRN("Wake button init failed (err %d) -- continuing without it", err);
	}

	LOG_INF("Ready — waiting for app connection");
	return 0;
}
```

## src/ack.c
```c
#include "ack.h"

#include <errno.h>
#include <stdio.h>

/* snprintf into buf; -ENOSPC if the message (plus NUL) did not fit. Every
 * caller passes a buffer of ACK_MAX_LEN, so this only trips on a schema
 * change that grows a message past the documented bound.
 */
#define FORMAT(buf, size, ...)                                              \
	({                                                                  \
		int n_ = snprintf((buf), (size), __VA_ARGS__);              \
		(n_ < 0 || (size_t)n_ >= (size)) ? -ENOSPC : n_;            \
	})

static long round_to_long(float v)
{
	return (long)(v >= 0.0f ? v + 0.5f : v - 0.5f);
}

static const char *command_name(enum dsp_command_type type)
{
	switch (type) {
	case DSP_CMD_MULTI_FILTER:
		return "MULTI_FILTER";
	case DSP_CMD_BYPASS:
		return "BYPASS";
	case DSP_CMD_TONE_START:
		return "TONE_START";
	case DSP_CMD_TONE_LEVEL:
		return "TONE_LEVEL";
	case DSP_CMD_TONE_STOP:
		return "TONE_STOP";
	default:
		return "?";
	}
}

int ack_format_command(const struct dsp_command *cmd, int dispatch_err, char *buf,
		       size_t size)
{
	const char *name = command_name(cmd->type);

	if (dispatch_err) {
		return FORMAT(buf, size, "{\"ack\":\"%s\",\"ok\":false,\"err\":\"dsp\",\"code\":%d}\n",
			      name, dispatch_err);
	}

	switch (cmd->type) {
	case DSP_CMD_MULTI_FILTER:
		return FORMAT(buf, size, "{\"ack\":\"%s\",\"ok\":true,\"bands\":%u}\n", name,
			      (unsigned int)cmd->band_count);
	case DSP_CMD_BYPASS:
		return FORMAT(buf, size, "{\"ack\":\"%s\",\"ok\":true,\"enabled\":%s}\n", name,
			      cmd->bypass_enabled ? "true" : "false");
	case DSP_CMD_TONE_START:
		return FORMAT(buf, size,
			      "{\"ack\":\"%s\",\"ok\":true,\"f0\":%ld,\"level_db\":%ld}\n", name,
			      round_to_long(cmd->tone_f0_hz), round_to_long(cmd->tone_level_db));
	case DSP_CMD_TONE_LEVEL:
		return FORMAT(buf, size, "{\"ack\":\"%s\",\"ok\":true,\"level_db\":%ld}\n", name,
			      round_to_long(cmd->tone_level_db));
	case DSP_CMD_TONE_STOP:
		return FORMAT(buf, size, "{\"ack\":\"%s\",\"ok\":true}\n", name);
	default:
		return FORMAT(buf, size, "{\"ack\":\"?\",\"ok\":false,\"err\":\"unknown\"}\n");
	}
}

int ack_format_rejected(char *buf, size_t size)
{
	return FORMAT(buf, size, "{\"ack\":\"?\",\"ok\":false,\"err\":\"parse\"}\n");
}

int ack_format_event_tone_watchdog(char *buf, size_t size)
{
	return FORMAT(buf, size, "{\"event\":\"tone_watchdog\"}\n");
}

int ack_format_event_boot(const char *fw_version, uint32_t fdsp_rate_hz,
			  const char *dac_source, char *buf, size_t size)
{
	return FORMAT(buf, size,
		      "{\"event\":\"boot\",\"fw\":\"%s\",\"fdsp_rate\":%lu,\"dac_source\":\"%s\"}\n",
		      fw_version, (unsigned long)fdsp_rate_hz, dac_source);
}
```

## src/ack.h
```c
/* Device -> app replies over NUS TX.
 *
 * Every line the app writes gets exactly one newline-terminated JSON ack
 * back, and a few unsolicited events exist for things the app cannot
 * otherwise observe (the tone watchdog firing; what firmware it just
 * connected to). Pure C: this module only formats bytes into a caller's
 * buffer -- sending is ble_transport_send()'s job, wiring is main.c's -- so
 * the whole schema is host-testable.
 *
 * Schema (see docs/nus-acks.md; keep the two in sync):
 *
 *   {"ack":"MULTI_FILTER","ok":true,"bands":3}\n
 *   {"ack":"BYPASS","ok":true,"enabled":true}\n
 *   {"ack":"TONE_START","ok":true,"f0":4000,"level_db":30}\n
 *   {"ack":"TONE_LEVEL","ok":true,"level_db":42}\n
 *   {"ack":"TONE_STOP","ok":true}\n
 *   {"ack":"?","ok":false,"err":"parse"}\n            rejected line
 *   {"ack":"MULTI_FILTER","ok":false,"err":"dsp","code":-5}\n
 *   {"event":"tone_watchdog"}\n                        firmware auto-silenced
 *   {"event":"boot","fw":"0.1.0-dev","fdsp_rate":192000,"dac_source":"fdsp"}\n
 *
 * Numbers are integers (f0 and level_db are rounded) so no float formatting
 * is needed on the wire, and every message fits comfortably inside one
 * NUS notification at the app's negotiated MTU (247 - 3 = 244 bytes; the
 * longest message here is well under 100).
 */
#ifndef HAVEN_ACK_H_
#define HAVEN_ACK_H_

#include <stddef.h>
#include <stdint.h>

#include "protocol.h"

/* Largest formatted line including the trailing '\n' and NUL. */
#define ACK_MAX_LEN 120

/* Ack for a successfully parsed and dispatched command. `dispatch_err` is
 * the driver's return code (0 = applied); nonzero produces an ok:false ack
 * with err:"dsp" and the code. Returns the number of bytes written
 * (excluding the NUL), or a negative errno if `size` is too small.
 */
int ack_format_command(const struct dsp_command *cmd, int dispatch_err, char *buf,
		       size_t size);

/* Ack for a line protocol_parse_line() rejected. */
int ack_format_rejected(char *buf, size_t size);

/* Unsolicited events. */
int ack_format_event_tone_watchdog(char *buf, size_t size);
int ack_format_event_boot(const char *fw_version, uint32_t fdsp_rate_hz,
			  const char *dac_source, char *buf, size_t size);

#endif /* HAVEN_ACK_H_ */
```

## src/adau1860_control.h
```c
/* ADAU1860 ("Lark") codec/DSP control.
 *
 * Topology this driver assumes (the real Haven / OpenEarable 2.0 board):
 *
 *   PDM mic ──DMIC──▶ ADAU1860 FastDSP: 5 biquads → expander → volume →
 *                      mute → mixer → limiter ──▶ DAC ──▶ speaker
 *                                   ▲
 *   nRF5340 ──I2C (32-bit register addressing)── coefficients only
 *
 * The nRF5340 is never on the audio path: hear-through latency is set by the
 * codec alone. The FastDSP program and its register bring-up sequence are
 * ported from upstream OpenEarable 2.0 (src/drivers/ADAU1860.cpp), which
 * runs on this exact board; see docs/fastdsp-program.md for what was
 * verified how, and what still is not.
 */
#ifndef HAVEN_ADAU1860_CONTROL_H_
#define HAVEN_ADAU1860_CONTROL_H_

#include <stdbool.h>
#include <stddef.h>
#include <stdint.h>

#include "protocol.h"

/* Sample rate the biquad coefficients are designed for. It must equal the
 * FastDSP frame-rate source (FDSP_CTRL4 -- "set fs to be the same as the
 * FastDSP source", EVAL-ADAU1860 UG-2017). Upstream frame-clocks the FDSP
 * from DMIC01, which it runs at 192 kHz (DMIC_CTRL2 = 0x04), so that is the
 * default; the parameter banks upstream ships decode to sensible corner
 * frequencies only under this assumption (docs/fastdsp-program.md). Q5.27
 * precision at this rate is adequate across the whole protocol range
 * (tools/dsp/results/notch_quantisation.md). Override via
 * CONFIG_HAVEN_FDSP_RATE_HZ. First hardware check: a notch commanded at f0
 * that lands at f0/4 means this constant is wrong, not the math.
 */
#ifdef CONFIG_HAVEN_FDSP_RATE_HZ
#define ADAU1860_FDSP_RATE_HZ ((float)CONFIG_HAVEN_FDSP_RATE_HZ)
#else
#define ADAU1860_FDSP_RATE_HZ 192000.0f
#endif

/* One biquad in RBJ form: y = b0 x + b1 x1 + b2 x2 - a1 y1 - a2 y2 (a0 = 1).
 * Double on purpose: near-unit-circle poles at 192 kHz need more than
 * single precision's ~6e-8 before Q5.27 quantisation (LSB 7.5e-9).
 */
struct adau1860_biquad {
	double b0, b1, b2, a1, a2;
};

/* The same biquad as the FastDSP consumes it: five Q5.27 words, in slot
 * parameter order. NOTE the feedback terms are stored NEGATED relative to
 * RBJ (the FDSP adds its feedback taps): p3 = -a1, p4 = -a2. Decoding
 * upstream's shipped banks under the un-negated convention yields unstable
 * filters (|pole| ~ 2.4) for every stage; negated, every stage is stable
 * with unity/-6 dB/-10 dB DC gains -- see docs/fastdsp-program.md.
 */
#define ADAU1860_Q27_ONE 0x08000000
struct adau1860_fdsp_biquad {
	uint32_t p[5];
};

/* Power up and configure the codec (mirrors upstream's begin()/setup_*):
 * supply + enable GPIOs, CM rise wait, PLL/frequency-multiplier bring-up with
 * STATUS2 polling, DMIC/decimator/ASRC/serial-port routing, FastDSP program +
 * parameter bank load, bank select, DAC/headphone amp on, all five biquad
 * slots set to unity pass-through. Returns 0, or a negative errno (-ENODEV
 * bus/GPIO not ready, -ETIMEDOUT codec never reported power-up, I2C errors).
 */
int adau1860_control_init(void);

/* Compute RBJ notch / peaking-cut coefficients for each band at
 * ADAU1860_FDSP_RATE_HZ, encode to Q5.27 and safeload them into FastDSP
 * slots 0..count-1; unused slots get unity pass-through so stale bands
 * never linger. Bands with atten_db < PROTOCOL_ATTEN_MAX_DB are peaking cuts
 * of that depth; at the max they collapse to a pure notch.
 */
int adau1860_control_apply_filters(const struct filter_band *bands, size_t count);

/* true = all five biquad slots unity (raw hear-through). main.c re-applies
 * the current bands on the next MULTI_FILTER, which is how bypass ends.
 */
int adau1860_control_set_bypass(bool enabled);

/* Output level via the FastDSP VOLUME slot, 0..100 %, using upstream's
 * mapping (0 % = -60 dB, 100 % = 0 dB, log-linear).
 */
int adau1860_control_set_volume_pct(uint8_t volume_pct);

/* Hard mute via the FastDSP MUTE slot (does not disturb the filter slots). */
int adau1860_control_set_mute(bool muted);

/* ── Hardware output ceiling ──────────────────────────────────────────────
 * DAC digital volume (DAC_VOL0), the last gain element before the headphone
 * amp: sits after the FastDSP, the EQ engine and the I2S tone route alike,
 * and is not exposed over BLE. Lark SDK: dB = 24 - 0.375 * code; 0xFF mutes.
 * Default CONFIG_HAVEN_OUTPUT_CEILING_DB (0 dB). Digital-domain only -- its
 * meaning in dB SPL is unknown until acoustic calibration. Range 24..-60.
 */
int adau1860_control_set_output_ceiling_db(int ceiling_db);
int adau1860_control_get_output_ceiling_db(void);
uint8_t adau1860_dac_vol_code(int ceiling_db); /* exposed for tests */

/* ── LDL calibration tone ─────────────────────────────────────────────────
 * Safety-critical -- see tone_safety.c, which owns validation/clamping and
 * the auto-stop watchdog. The FastDSP program has no oscillator, so the
 * tone is synthesised on the nRF5340 (tone_gen.c) and streamed over I2S0
 * (nRF master) into the codec's serial port 0 -> input ASRC; the codec side
 * then routes it to the DAC. Default routing feeds the DAC straight from the
 * I2S input for the duration (hear-through paused, tone never passes through
 * the user's notches); CONFIG_HAVEN_TONE_ROUTE_FDSP_MIX instead leaves the
 * DAC on the FastDSP and relies on the program's mixer slot (unverified).
 * See docs/tone-path.md. Not yet run on hardware.
 *
 * level_db -> linear gain: 10^((level_db - CONFIG_HAVEN_TONE_FULL_SCALE_DB)/20),
 * clamped to [0, 1]. The full-scale constant is NOMINAL until the acoustic
 * calibration in haven-app docs/calibration.md has been done.
 */
int adau1860_control_set_tone(float f0_hz, float level_db);
int adau1860_control_set_tone_level(float level_db);
int adau1860_control_stop_tone(void);

/* The level mapping above, exposed for tests and for the calibration tool. */
int32_t adau1860_tone_gain_q15(float level_db);

/* BLE link lifecycle hooks (main.c). Hearing protection must keep working
 * with the phone gone, so neither touches the filter state; they log.
 */
void adau1860_control_on_ble_connected(void);
void adau1860_control_on_ble_disconnected(void);

#endif /* HAVEN_ADAU1860_CONTROL_H_ */
```

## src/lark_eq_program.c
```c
/* Upstream OpenEarable 2.0 hardware-EQ program for the ADAU1860 ("Lark"), as
 * ported from OpenEarable/open-earable-2 src/drivers/Lark-eq.c (OpenEarable
 * project, TECO / KIT). Original distributed under the license in
 * third_party/open-earable-2/LICENSE; modifications for Haven 2026.
 *
 * Exported from ADI's Lark Studio (EQ designer -> "Download to Target") and
 * checked in upstream verbatim; values are unchanged here, only the names.
 *
 * What it is (decoded in tools/dsp/eq_bank_decode.py): a 57-word program for
 * the codec's dedicated EQ engine plus two 35-word parameter banks. Each bank
 * is six biquads of five words followed by five gain words, all in 28-bit
 * two's-complement 4.24 fixed point (1.0 = 0x01000000). Biquad layout is
 * [-a1, -a2, b0, b1, b2] -- feedback taps first and negated. Upstream's bank
 * 0 is a four-band music EQ (-10/-8/-2.5/-7 dB cuts) with two identity
 * stages; bank 1 is six identical stages. Haven loads only the PROGRAM from
 * here and writes its own banks (unity at boot, its bands at runtime); the
 * upstream banks are kept for tests and for the decode script.
 */
#include "lark_eq_program.h"

const uint32_t lark_eq_program[LARK_EQ_PROGRAM_WORDS] = {
	0x00010000, 0x00024F00, 0x0000C000, 0x00001018, 0x00014F98, 0x0000C000, 0x00001018,
	0x00015018, 0x0000C000, 0x00001018, 0x00014094, 0x0000C015, 0x0000C216, 0x0000C197,
	0x0000C118, 0x0000A018, 0x00001016, 0x00014310, 0x0000C291, 0x0000C492, 0x0000C413,
	0x0000C396, 0x0000A014, 0x00001012, 0x0001458C, 0x0000C50D, 0x0000C70E, 0x0000C68F,
	0x0000C612, 0x0000A010, 0x0000100E, 0x00014808, 0x0000C789, 0x0000C98A, 0x0000C90B,
	0x0000C88E, 0x0000A00C, 0x0000100A, 0x00014A84, 0x0000CA05, 0x0000CC06, 0x0000CB87,
	0x0000CB0A, 0x0000A008, 0x00001006, 0x00014D00, 0x0000CC81, 0x0000CE82, 0x0000CE03,
	0x0000CD86, 0x0000A004, 0x00001002, 0x00028000, 0x00018000, 0x0003C000, 0x00000000,
	0x00000000
};

const uint32_t lark_eq_param_bank0[LARK_EQ_BANK_WORDS] = {
	0x01E51476, 0x0F1A1CBD, 0x00C76C97, 0x0E7E7E85, 0x00BA5649,
	0x018A7D5F, 0x0F4540FB, 0x00EB2887, 0x0E7582A1, 0x00CF967E,
	0x012C8DDB, 0x0F8528EA, 0x00EF5915, 0x0ED37225, 0x008B7E01,
	0x017D88EB, 0x0F310B0E, 0x00F26E8A, 0x0E827715, 0x00DC8668,
	0x00000000, 0x00000000, 0x01000000, 0x00000000, 0x00000000,
	0x00000000, 0x00000000, 0x01000000, 0x00000000, 0x00000000,
	0x01000000, 0x01000000, 0x01000000, 0x01000000, 0x01000000
};

const uint32_t lark_eq_param_bank1[LARK_EQ_BANK_WORDS] = {
	0x01DE28C5, 0x0F1DB6F9, 0x0101D018, 0x0E21D73B, 0x00E078EF,
	0x01DE28C5, 0x0F1DB6F9, 0x0101D018, 0x0E21D73B, 0x00E078EF,
	0x01DE28C5, 0x0F1DB6F9, 0x0101D018, 0x0E21D73B, 0x00E078EF,
	0x01DE28C5, 0x0F1DB6F9, 0x0101D018, 0x0E21D73B, 0x00E078EF,
	0x01DE28C5, 0x0F1DB6F9, 0x0101D018, 0x0E21D73B, 0x00E078EF,
	0x01DE28C5, 0x0F1DB6F9, 0x0101D018, 0x0E21D73B, 0x00E078EF,
	0x01000000, 0x01000000, 0x01000000, 0x01000000, 0x01000000
};
```

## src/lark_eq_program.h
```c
/* See lark_eq_program.c. */
#ifndef HAVEN_LARK_EQ_PROGRAM_H_
#define HAVEN_LARK_EQ_PROGRAM_H_

#include <stdint.h>

#define LARK_EQ_PROGRAM_WORDS      57
#define LARK_EQ_BANK_WORDS         35
#define LARK_EQ_NUM_BIQUADS        6   /* groups 0-5 of the bank */
#define LARK_EQ_PARAMS_PER_BIQUAD  5   /* [-a1, -a2, b0, b1, b2], 4.24 */
#define LARK_EQ_GAIN_WORDS         5   /* group 6: five unity gain words */

extern const uint32_t lark_eq_program[LARK_EQ_PROGRAM_WORDS];
extern const uint32_t lark_eq_param_bank0[LARK_EQ_BANK_WORDS];
extern const uint32_t lark_eq_param_bank1[LARK_EQ_BANK_WORDS];

#endif /* HAVEN_LARK_EQ_PROGRAM_H_ */
```

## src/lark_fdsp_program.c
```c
/* Upstream OpenEarable 2.0 FastDSP program for the ADAU1860 ("Lark"), as
 * Ported from OpenEarable/open-earable-2 src/drivers/Lark-fdsp.c (OpenEarable project,
 * TECO / KIT). Original distributed under the license in
 * third_party/open-earable-2/LICENSE; modifications for Haven 2026.
 *
 * exported from ADI's Lark Studio ("Download to Target" writes exactly these
 * words to FDSP program/parameter memory -- EVAL-ADAU1860 User Guide UG-2017)
 * and checked in upstream as src/drivers/Lark-fdsp.c
 * (OpenEarable/open-earable-2, LicenseRef-PCFT / Nordic-5-Clause; used here
 * on an nRF5340 as that license requires). Values are verbatim; only the
 * array names and layout comments are Haven's.
 *
 * What this program is (decoded from the parameter banks, see
 * docs/fastdsp-program.md): the DMIC (in-ear microphone) stream, frame-clocked
 * at the DMIC rate, through five cascaded biquads (slots 0-4), then an
 * expander/noise gate (5), volume (6), mute (7), a mixer with the I2S/EQ music
 * path (8) and a master limiter (9), out on FDSP channel 0 -> DAC. Bank 0
 * (upstream "normal") zeroes the five biquads, i.e. mutes the mic path; bank 1
 * ("transparency") is the hear-through EQ; bank 2 ("ANC"). Haven runs bank 1
 * and overwrites slots 0-4 with its own notch/peaking-cut bands via safeload.
 *
 * Layout: lark_fdsp_param_bank[bank][param][slot] -- one 32-bit word per
 * slot, per parameter, exactly how the memory is organised (see
 * ADAU1860_FDSP_BANK() in adau1860_regs.h). Biquad slots use
 * param0..4 = b0, b1, b2, -a1, -a2 in Q5.27 (see adau1860_control.c).
 */
#include "lark_fdsp_program.h"

const uint32_t lark_fdsp_program[LARK_FDSP_PROGRAM_WORDS] = {
	0x00824800, 0x00B24800, 0x00B24800, 0x00B24800, 0x00B24800, 0x01005000, 0x01804800, 0x01805200, 0x01C04800, 0x04800000, 0x00000000, 0x00000000
};

const uint32_t lark_fdsp_param_bank[ADAU1860_FDSP_NUM_BANKS][ADAU1860_FDSP_NUM_PARAMS][LARK_FDSP_NUM_SLOTS] = {
	/* bank 0 -- upstream AUDIO_MODE_NORMAL: biquads zeroed (mic path silent) */
	{
		{ 0x00000000, 0x00000000, 0x00000000, 0x00000000, 0x00000000, 0x00000C80,
		  0x17F00000, 0xC9F00000, 0xD1A40000, 0xC8000000, 0x00000000, 0x00000000 },
		{ 0x00000000, 0x00000000, 0x00000000, 0x00000000, 0x00000000, 0x00000D00,
		  0x00000000, 0x00000000, 0x00000000, 0x00000000, 0x00000000, 0x00000000 },
		{ 0x00000000, 0x00000000, 0x00000000, 0x00000000, 0x00000000, 0x00000300,
		  0x02014700, 0x00014700, 0x08000000, 0x00000000, 0x00000000, 0x00000000 },
		{ 0x00000000, 0x00000000, 0x00000000, 0x00000000, 0x00000000, 0x00000300,
		  0x00000000, 0x00000000, 0x00000000, 0x00000000, 0x00000000, 0x00000000 },
		{ 0x00000000, 0x00000000, 0x00000000, 0x00000000, 0x00000000, 0x80000000,
		  0x04000000, 0x00000000, 0x00000000, 0x00000000, 0x00000000, 0x00000000 },
	},
	/* bank 1 -- upstream AUDIO_MODE_TRANSPARENCY: hear-through EQ */
	{
		{ 0x07FE81DE, 0x0790CF27, 0x006DC082, 0x04097BA8, 0x083C4385, 0x08000C80,
		  0x17F00000, 0xC9F00000, 0xD1A40000, 0xC8000000, 0x00000000, 0x00000000 },
		{ 0xF00A380A, 0xF1435005, 0x00DB8104, 0xF806CE83, 0xF03C9B90, 0x04000D00,
		  0x00000000, 0x00000000, 0xFD000000, 0x00000000, 0x00000000, 0x00000000 },
		{ 0x07F74A0F, 0x07463618, 0x006DC082, 0x03EFFE9E, 0x078BFEC9, 0x00010000,
		  0x02014700, 0x00014700, 0x08000000, 0x00000000, 0x00000000, 0x00000000 },
		{ 0x0FF5C5FD, 0x0EBCAFFB, 0x0B15CAC3, 0x0FE8B753, 0x0FC36470, 0x00004000,
		  0x00000000, 0x00000000, 0x00000000, 0x00000000, 0x00000000, 0x00000000 },
		{ 0xF80A321A, 0xF928FAC0, 0xFB333334, 0xF816B773, 0xF837BDB2, 0x82180000,
		  0x04000000, 0x00000000, 0x00000000, 0x00000000, 0x00000000, 0x00000000 },
	},
	/* bank 2 -- upstream AUDIO_MODE_ANC */
	{
		{ 0x08000000, 0x00006DB1, 0x07F32FFB, 0x08000000, 0x08000000, 0x08000C80,
		  0x17F00000, 0xC9F00000, 0xD1A40000, 0xC8000000, 0x00000000, 0x00000000 },
		{ 0x00000000, 0x0000DB63, 0xF03A7E18, 0x00000000, 0x00000000, 0x04000D00,
		  0x00000000, 0x00000000, 0x01000000, 0x00000000, 0x00000000, 0x00000000 },
		{ 0x00000000, 0x00006DB1, 0x07D2780D, 0x00000000, 0x00000000, 0x00010000,
		  0x02014700, 0x00014700, 0x08000000, 0x00000000, 0x00000000, 0x00000000 },
		{ 0x00000000, 0x0FBBE982, 0x0FC558B0, 0x00000000, 0x00000000, 0x00004000,
		  0x00000000, 0x00000000, 0x00000000, 0x00000000, 0x00000000, 0x00000000 },
		{ 0x00000000, 0xF841EE1B, 0xF83A2EBE, 0x00000000, 0x00000000, 0x82180000,
		  0x04000000, 0x00000000, 0x00000000, 0x00000000, 0x00000000, 0x00000000 },
	},
};
```
